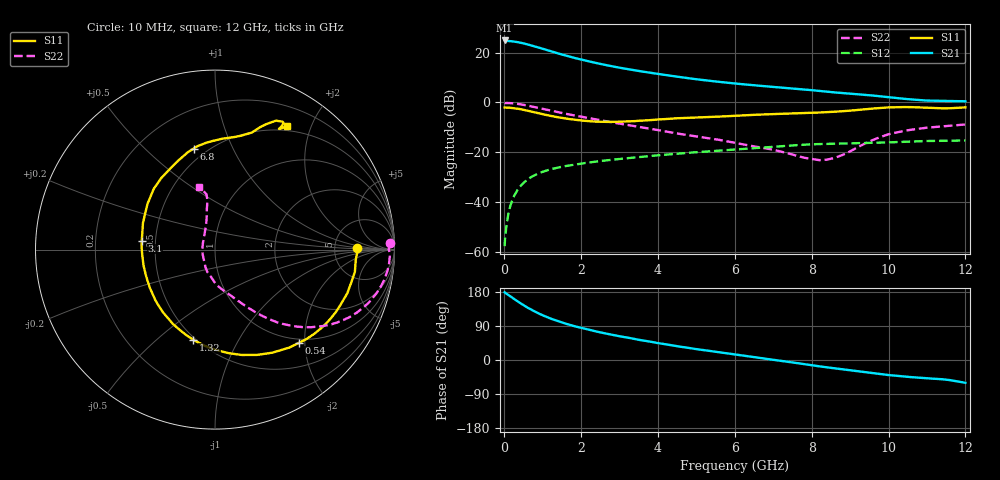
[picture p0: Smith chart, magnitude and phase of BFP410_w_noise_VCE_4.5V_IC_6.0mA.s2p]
! Infineon Technologies  Discrete & RF Semiconductors
! BFP410
! VCE =  4.5 V,  IC =  6.0 mA
! Common Emitter S-Parameters:  Nov 2015
# GHz  S  MA  R  50
!  f  S11  S21  S12  S22
! GHz  MAG  ANG  MAG  ANG  MAG  ANG  MAG  ANG
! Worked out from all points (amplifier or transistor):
!   243 points, 10 MHz to 12 GHz, reference 50 ohm
!   highest |S21| = 24.9 dB at 10 MHz (marker M1)
!   |S21| within 3 dB of that: start of sweep to 928.4 MHz
!   unconditionally stable (mu >= 1): start of sweep to 20.45 MHz; 2.914 GHz to end of sweep
!   at 240 MHz: K = 0.22, MSG = 31.3 dB, |S12| = -38.1 dB
!   at 1.84 GHz: K = 0.69, MSG = 21.4 dB, |S12| = -24.9 dB
!   at 12 GHz: K = 1.06, MAG = 6.4 dB, |S12| = -15.3 dB
!   lowest NFmin = 1.06 dB at 900 MHz
!   S11 on the Smith chart (normalised r, x): 10 MHz: 8.50, +0.31; 540 MHz: 0.93, -1.88; 1.32 GHz: 0.49, -0.67; 3.1 GHz: 0.42, +0.05; 6.8 GHz: 0.43, +0.72; 12 GHz: 0.44, +1.65
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0.01  0.7897 0.5  17.53 178.8  0.0013 14.1  0.9762 2.0
0.05  0.7862 -4.2  17.17 175.4  0.0029 59.9  0.9754 -1.5
0.11  0.7871 -9.9  17.11 171.5  0.006 71.7  0.973 -4.6
0.2  0.7763 -18.2  16.86 165.2  0.0104 73.9  0.9631 -8.6
0.3  0.7582 -27.2  16.45 158.1  0.0153 72.3  0.9451 -12.8
0.42  0.7322 -37.7  15.8 150.0  0.0208 69.0  0.9168 -17.5
0.54  0.6995 -47.9  15.04 142.4  0.0257 65.4  0.8827 -21.8
0.7  0.6573 -60.9  13.99 133.0  0.0317 61.1  0.8343 -27.1
0.9  0.6057 -75.8  12.61 122.7  0.0378 56.3  0.7722 -32.6
1.1  0.559 -89.5  11.31 113.8  0.0429 52.4  0.7126 -37.1
1.32  0.5166 -103.5  10.05 105.1  0.0477 48.9  0.6538 -41.3
1.64  0.4703 -121.6  8.553 94.6  0.0534 45.1  0.5822 -46.1
2.02  0.4338 -140.5  7.182 84.3  0.0595 41.7  0.5145 -50.6
2.46  0.4095 -161.2  6.022 73.8  0.0659 38.5  0.4451 -55.1
3.1  0.4109 173.0  4.827 61.0  0.0745 34.6  0.3642 -61.0
4.1  0.4581 143.7  3.635 43.1  0.0881 29.2  0.2696 -71.2
5  0.499 126.7  2.916 28.7  0.1001 23.9  0.2078 -84.4
6.1  0.5424 110.7  2.358 13.3  0.1143 17.3  0.1491 -100.0
6.8  0.5753 102.0  2.108 3.5  0.1251 12.9  0.1195 -114.1
8.2  0.627 83.2  1.699 -16.7  0.1458 0.6  0.0693 -176.0
10.2  0.8 63.4  1.227 -41.6  0.1597 -13.8  0.2485 100.2
12  0.7941 59.8  1.056 -60.2  0.1724 -29.0  0.361 103.9
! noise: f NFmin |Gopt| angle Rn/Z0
0.45  1.09  0.2  1  0.22
0.9  1.06  0.19  15  0.18
1.8  1.21  0.13  52  0.16
2.4  1.21  0.11  50  0.19
5.5  2.12  0.32  -125  0.21
10  3.36  0.67  -51  1.79
